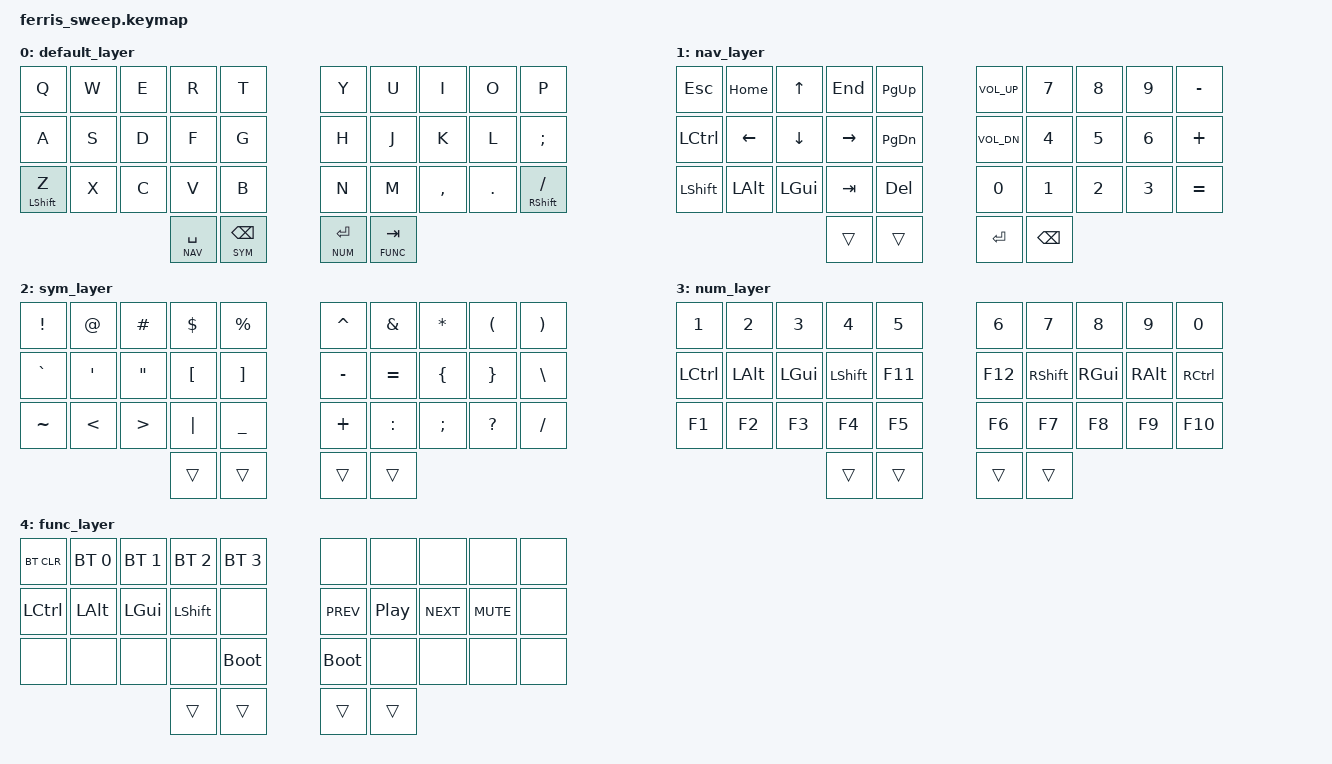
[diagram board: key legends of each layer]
/*
 * Copyright (c) 2025
 * SPDX-License-Identifier: MIT
 */

#include <behaviors.dtsi>
#include <dt-bindings/zmk/keys.h>
#include <dt-bindings/zmk/bt.h>

#define DEFAULT 0
#define NAV     1
#define SYM     2
#define NUM     3
#define FUNC    4

&mt {
    tapping-term-ms = <200>;
    quick-tap-ms = <150>;
    flavor = "tap-preferred";
};

&lt {
    tapping-term-ms = <200>;
    quick-tap-ms = <150>;
    flavor = "tap-preferred";
};

/ {
    combos {
        compatible = "zmk,combos";

        combo_esc {
            timeout-ms = <50>;
            key-positions = <0 1>;
            bindings = <&kp ESC>;
        };

        combo_tab {
            timeout-ms = <50>;
            key-positions = <10 11>;
            bindings = <&kp TAB>;
        };

        combo_enter {
            timeout-ms = <50>;
            key-positions = <18 19>;
            bindings = <&kp ENTER>;
        };
    };

    keymap {
        compatible = "zmk,keymap";

        default_layer {
            bindings = <
    &kp Q       &kp W       &kp E       &kp R       &kp T           &kp Y       &kp U       &kp I       &kp O       &kp P
    &kp A       &kp S       &kp D       &kp F       &kp G           &kp H       &kp J       &kp K       &kp L       &kp SEMI
    &mt LSHFT Z &kp X       &kp C       &kp V       &kp B           &kp N       &kp M       &kp COMMA   &kp DOT     &mt RSHFT SLASH
                            &lt NAV SPACE &lt SYM BSPC              &lt NUM ENTER &lt FUNC TAB
            >;
        };

        nav_layer {
            bindings = <
    &kp ESC     &kp HOME    &kp UP      &kp END     &kp PG_UP       &kp C_VOL_UP &kp N7     &kp N8      &kp N9      &kp MINUS
    &kp LCTRL   &kp LEFT    &kp DOWN    &kp RIGHT   &kp PG_DN       &kp C_VOL_DN &kp N4     &kp N5      &kp N6      &kp PLUS
    &kp LSHFT   &kp LALT    &kp LGUI    &kp TAB     &kp DEL         &kp N0       &kp N1     &kp N2      &kp N3      &kp EQUAL
                            &trans      &trans                      &kp ENTER    &kp BSPC
            >;
        };

        sym_layer {
            bindings = <
    &kp EXCL    &kp AT      &kp HASH    &kp DLLR    &kp PRCNT       &kp CARET   &kp AMPS    &kp STAR    &kp LPAR    &kp RPAR
    &kp GRAVE   &kp SQT     &kp DQT     &kp LBKT    &kp RBKT        &kp MINUS   &kp EQUAL   &kp LBRC    &kp RBRC    &kp BSLH
    &kp TILDE   &kp LT      &kp GT      &kp PIPE    &kp UNDER       &kp PLUS    &kp COLON   &kp SEMI    &kp QMARK   &kp SLASH
                            &trans      &trans                      &trans      &trans
            >;
        };

        num_layer {
            bindings = <
    &kp N1      &kp N2      &kp N3      &kp N4      &kp N5          &kp N6      &kp N7      &kp N8      &kp N9      &kp N0
    &kp LCTRL   &kp LALT    &kp LGUI    &kp LSHFT   &kp F11         &kp F12     &kp RSHFT   &kp RGUI    &kp RALT    &kp RCTRL
    &kp F1      &kp F2      &kp F3      &kp F4      &kp F5          &kp F6      &kp F7      &kp F8      &kp F9      &kp F10
                            &trans      &trans                      &trans      &trans
            >;
        };

        func_layer {
            bindings = <
    &bt BT_CLR  &bt BT_SEL 0 &bt BT_SEL 1 &bt BT_SEL 2 &bt BT_SEL 3  &none      &none       &none       &none       &none
    &kp LCTRL   &kp LALT    &kp LGUI    &kp LSHFT   &none           &kp C_PREV  &kp C_PP    &kp C_NEXT  &kp C_MUTE  &none
    &none       &none       &none       &none       &bootloader     &bootloader &none       &none       &none       &none
                            &trans      &trans                      &trans      &trans
            >;
        };
    };
};
